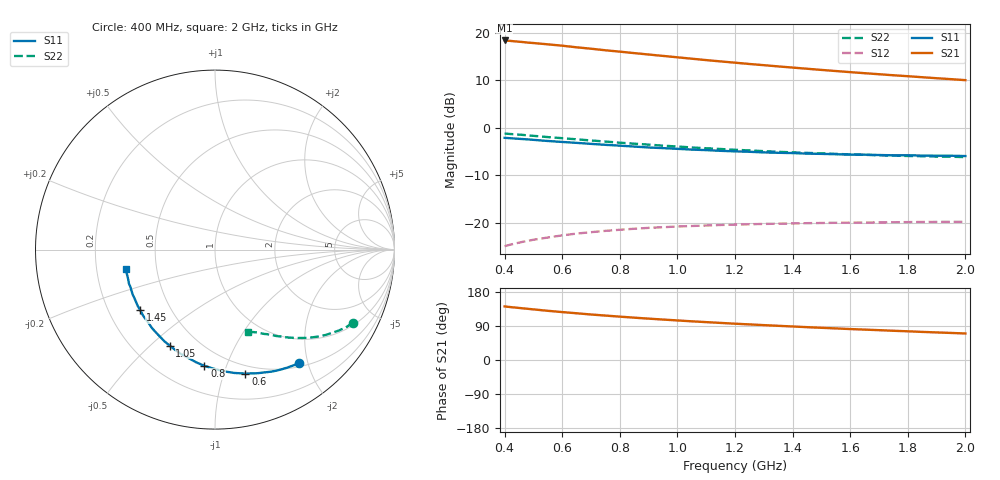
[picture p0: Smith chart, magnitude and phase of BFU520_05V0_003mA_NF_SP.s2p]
! Filename:  P:\Prog\Test\Noise\ATS_data\Testdata_Net\06 Compressed Noise after Statistics\BFU520_APG2013_37_A05_05p0V_003mA_NF_CM01_D.sf
! Date/Time: Fri 26/Apr/2013 14:13:10
! BFU520_APG2013_37_A05_05p0V_1to20mA_NF_CM01_Bias3_R.sf
! Noise Parameter Data File
! BFU520_APG2013_37_A05_05p0V_1to20mA_NF_CM01
! Date/time: Tue Apr 23 16:46:24 2013
! VAR V_out= 5.000000
! VAR I_out= 3.000000
! VAR V_in= 0.816700
! VAR I_in= 0.033605
! Device data file deembeded for feedlines and parallel
! Original file: \06 Compressed Noise after Statistics\BFU520_APG2013_37_A05_05p0V_003mA_NF_CM01_R.sf
! Feed-files: PR047V01_250413_Feed1.s2p, PR047V01_250413_Feed2.s2p
! Parallel-file: PR047V01_250413_Par.s2p
# MHz S MA R 50
!  Freq-MHz  S11-mag  S11-arg  S21-mag  S21-arg  S12-mag  S12-arg  S22-mag  S22-arg
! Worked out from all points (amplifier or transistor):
!   37 points, 400 MHz to 2 GHz, reference 50 ohm
!   highest |S21| = 18.4 dB at 400 MHz (marker M1)
!   |S21| within 3 dB of that: start of sweep to 907.5 MHz
!   unconditionally stable (mu >= 1): nowhere
!   at 500 MHz: K = 0.22, MSG = 20.7 dB, |S12| = -23.5 dB
!   at 1.1 GHz: K = 0.46, MSG = 17.4 dB, |S12| = -20.5 dB
!   at 2 GHz: K = 0.80, MSG = 14.9 dB, |S12| = -19.8 dB
!   lowest NFmin = 0.57 dB at 460 MHz
!   S11 on the Smith chart (normalised r, x): 400 MHz: 0.56, -1.85; 600 MHz: 0.42, -1.18; 800 MHz: 0.37, -0.84; 1.05 GHz: 0.35, -0.58; 1.45 GHz: 0.34, -0.32; 2 GHz: 0.33, -0.10
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400  0.7863 -53.6  8.306 141.3  0.05705 60.3  0.8718 -27.8
440  0.7713 -58.4  8.11 138.1  0.06118 58.0  0.8537 -30.0
500  0.7486 -65.3  7.804 133.6  0.06661 54.8  0.8252 -33.1
550  0.7284 -71.0  7.561 129.8  0.07034 52.2  0.8004 -35.4
600  0.7114 -76.2  7.318 126.5  0.07408 50.0  0.7794 -37.5
650  0.6957 -81.0  7.035 123.3  0.07738 47.9  0.7583 -39.6
700  0.6791 -86.1  6.802 120.1  0.08001 46.0  0.7371 -41.4
750  0.6637 -90.6  6.55 117.2  0.08266 44.2  0.7185 -43.1
800  0.6504 -95.2  6.333 114.4  0.08488 42.7  0.6989 -44.8
850  0.6364 -99.5  6.114 111.7  0.08696 41.2  0.6823 -46.2
900  0.6222 -103.7  5.91 109.1  0.08887 39.8  0.667 -47.7
950  0.6125 -107.7  5.714 106.7  0.09029 38.5  0.6501 -49.0
1050  0.5912 -115.3  5.34 102.1  0.09297 36.3  0.6229 -51.6
1150  0.5739 -122.3  5 97.8  0.09531 34.5  0.6 -53.7
1200  0.5664 -125.7  4.85 95.8  0.0961 33.6  0.5886 -54.8
1300  0.5522 -131.9  4.566 92.0  0.09772 32.3  0.5698 -56.7
1450  0.5361 -140.9  4.188 86.7  0.09957 30.6  0.546 -59.5
1500  0.5331 -143.6  4.071 85.0  0.09999 30.1  0.5393 -60.3
1600  0.5238 -149.0  3.858 81.7  0.1008 29.3  0.5262 -62.1
1750  0.515 -156.5  3.576 77.1  0.1018 28.6  0.5103 -64.4
1850  0.5113 -161.1  3.41 74.2  0.1025 28.2  0.5036 -66.0
2000  0.5057 -167.4  3.177 70.0  0.1028 27.9  0.493 -68.4
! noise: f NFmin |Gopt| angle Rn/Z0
400  0.6136  0.4038  20.73  0.1695
460  0.5676  0.371  25.89  0.1533
600  0.6773  0.3836  30.18  0.1654
800  0.6631  0.3439  42.86  0.1504
1000  0.7182  0.341  53.99  0.1412
1200  0.7555  0.3291  64.83  0.1375
1400  0.7537  0.3242  77.03  0.1303
1600  0.7776  0.3155  88.86  0.1135
1800  0.6905  0.3164  103.8  0.0941
2000  0.8565  0.3135  115  0.1032
